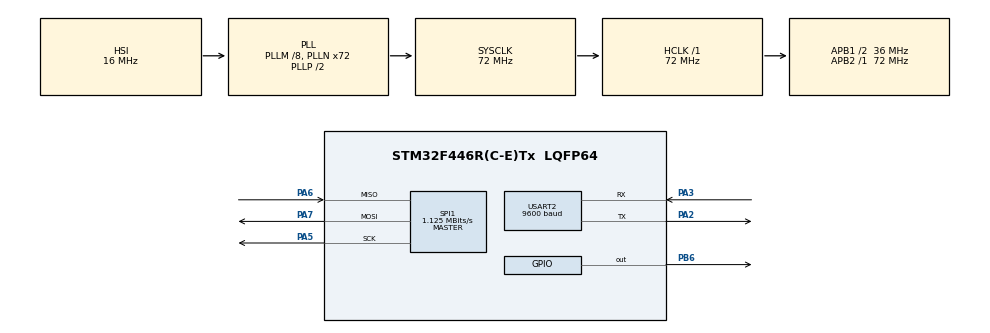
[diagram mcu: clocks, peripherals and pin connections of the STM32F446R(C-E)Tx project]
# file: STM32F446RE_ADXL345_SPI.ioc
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Mcu.Family=STM32F4
PA6.Mode=Full_Duplex_Master
PH0-OSC_IN.Signal=RCC_OSC_IN
RCC.CortexFreq_Value=72000000
PA7.Mode=Full_Duplex_Master
SPI1.VirtualType=VM_MASTER
SPI1.CLKPhase=SPI_PHASE_2EDGE
RCC.APB1CLKDivider=RCC_HCLK_DIV2
NVIC.USART2_IRQn=true\:0\:0\:false\:false\:true\:true\:true
USART2.BaudRate=9600
RCC.SYSCLKSource=RCC_SYSCLKSOURCE_PLLCLK
ProjectManager.StackSize=0x400
PA13.Signal=SYS_JTMS-SWDIO
PA3.Mode=Asynchronous
SPI1.CLKPolarity=SPI_POLARITY_HIGH
ProjectManager.TargetToolchain=STM32CubeIDE
SPI1.Direction=SPI_DIRECTION_2LINES
RCC.HCLKFreq_Value=72000000
RCC.APB2TimFreq_Value=72000000
PB6.Signal=GPIO_Output
SPI1.CalculateBaudRate=1.125 MBits/s
RCC.USBFreq_Value=72000000
RCC.AHBFreq_Value=72000000
PH0-OSC_IN.Mode=HSE-External-Oscillator
PA5.Signal=SPI1_SCK
RCC.HSE_VALUE=25000000
board=custom
RCC.VCOOutputFreq_Value=144000000
NVIC.SPI1_IRQn=true\:0\:0\:false\:false\:true\:true\:true
RCC.APB2Freq_Value=72000000
SPI1.Mode=SPI_MODE_MASTER
PA14.Mode=Serial_Wire
PH1-OSC_OUT.Signal=RCC_OSC_OUT
PA13.Mode=Serial_Wire
Mcu.Name=STM32F446R(C-E)Tx
PA2.Signal=USART2_TX
PH1-OSC_OUT.Mode=HSE-External-Oscillator
RCC.SYSCLKFreq_VALUE=72000000
Mcu.Package=LQFP64
PA6.Signal=SPI1_MISO
USART2.VirtualMode=VM_ASYNC
PA14.Signal=SYS_JTCK-SWCLK
ProjectManager.HeapSize=0x200
NVIC.PriorityGroup=NVIC_PRIORITYGROUP_4
RCC.PLLM=8
RCC.PLLN=72
RCC.APB1TimFreq_Value=72000000
PA2.Mode=Asynchronous
RCC.APB1Freq_Value=36000000
SPI1.BaudRatePrescaler=SPI_BAUDRATEPRESCALER_64
PA3.Signal=USART2_RX
PA5.Mode=Full_Duplex_Master
PA7.Signal=SPI1_MOSI

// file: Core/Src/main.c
/* USER CODE BEGIN Header */
/**
  ******************************************************************************
  * @file           : main.c
  * @brief          : Main program body
  ******************************************************************************
  * @attention
  *
  * <h2><center>&copy; Copyright (c) 2021 STMicroelectronics.
  * All rights reserved.</center></h2>
  *
  * This software component is licensed by ST under BSD 3-Clause license,
  * the "License"; You may not use this file except in compliance with the
  * License. You may obtain a copy of the License at:
  *                        opensource.org/licenses/BSD-3-Clause
  *
  ******************************************************************************
  */
/* USER CODE END Header */
#include "main.h"
#include "stm32f4xx_hal.h"

#include <stdio.h>
#include <string.h>

SPI_HandleTypeDef hspi1;

UART_HandleTypeDef huart2;

/* USER CODE BEGIN PV */

static char* uartTx= "UART BAŞLADI /t/n";

/* USER CODE END PV */

void SystemClock_Config(void);
static void MX_GPIO_Init(void);
static void MX_SPI1_Init(void);
static void MX_USART2_UART_Init(void);

/* USER CODE BEGIN 0 */

uint8_t data_rec[6];
int16_t x, y, z;
float xg, yg, zg;
float ax, ay, az;

void adxl_write (uint8_t address, uint8_t value)
{
	uint8_t data[2];
	data[0] = address|0x40;  // multibyte write
	data[1] = value;
	HAL_GPIO_WritePin (GPIOB, GPIO_PIN_6, GPIO_PIN_RESET);  // pull the cs pin low
	HAL_SPI_Transmit (&hspi1, data, 2, 100);  // write data to register
	HAL_GPIO_WritePin (GPIOB, GPIO_PIN_6, GPIO_PIN_SET);  // pull the cs pin high
}

void adxl_read (uint8_t address)
{
	address |= 0x80;  // read operation
	address |= 0x40;  // multibyte read
	uint8_t rec;
	HAL_GPIO_WritePin (GPIOB, GPIO_PIN_6, GPIO_PIN_RESET);  // pull the pin low
	HAL_SPI_Transmit (&hspi1, &address, 1, 100);  // send address
	HAL_SPI_Receive (&hspi1, data_rec, 6, 100);  // receive 6 bytes data
	HAL_GPIO_WritePin (GPIOB, GPIO_PIN_6, GPIO_PIN_SET);  // pull the pin high
}

void adxl_init (void)
{
	adxl_write (0x31, 0x01);  // data_format range= +- 4g
	adxl_write (0x2d, 0x00);  // reset all bits
	adxl_write (0x2d, 0x08);  // power_cntl measure and wake up 8hz
}

/* USER CODE END 0 */

int main(void)
{

  /* MCU Configuration--------------------------------------------------------*/

  /* Reset of all peripherals, Initializes the Flash interface and the Systick. */
  HAL_Init();

  /* Configure the system clock */
  SystemClock_Config();

  /* Initialize all configured peripherals */
  MX_GPIO_Init();
  MX_SPI1_Init();
  MX_USART2_UART_Init();
  /* USER CODE BEGIN 2 */

  if (HAL_UART_Transmit(&huart2, (uint8_t *)uartTx, 25, 100)!=HAL_OK)
  {
	  Error_Handler();
  }

  adxl_init();

  /* USER CODE END 2 */

  /* Infinite loop */
  while (1)
  {

    /* USER CODE BEGIN 3 */

	  // READ DATA

	  	  	  adxl_read (0x32);
	  	  	  x = ((data_rec[1]<<8)|data_rec[0]);
	  	      y = ((data_rec[3]<<8)|data_rec[2]);
	  	      z = ((data_rec[5]<<8)|data_rec[4]);

	  	        // Convert into 'g'

	  	        xg = x*.0078;
	  	        yg = y*.0078;
	  	     	zg = z*.0078;

	  	     	// 1 g = 9.80665 m/s²

	  	     	ax = xg*9.80665;
	  	     	ay = yg*9.80665;
	  	     	az = zg*9.80665;

	  		  char buffer[100];
	  		  sprintf(buffer, "ax: %f\t ay: %f\t az: %f\t\n xg: %f\t yg: %f\t zg: %f\t", ax, ay, az, xg, yg, zg);
	  		  HAL_UART_Transmit(&huart2, buffer, strlen(buffer), 1000);
  }
  /* USER CODE END 3 */
}

void SystemClock_Config(void)
{
  RCC_OscInitTypeDef RCC_OscInitStruct = {0};
  RCC_ClkInitTypeDef RCC_ClkInitStruct = {0};

  /** Configure the main internal regulator output voltage
  */
  __HAL_RCC_PWR_CLK_ENABLE();
  __HAL_PWR_VOLTAGESCALING_CONFIG(PWR_REGULATOR_VOLTAGE_SCALE3);
  /** Initializes the RCC Oscillators according to the specified parameters
  * in the RCC_OscInitTypeDef structure.
  */
  RCC_OscInitStruct.OscillatorType = RCC_OSCILLATORTYPE_HSI;
  RCC_OscInitStruct.HSIState = RCC_HSI_ON;
  RCC_OscInitStruct.HSICalibrationValue = RCC_HSICALIBRATION_DEFAULT;
  RCC_OscInitStruct.PLL.PLLState = RCC_PLL_ON;
  RCC_OscInitStruct.PLL.PLLSource = RCC_PLLSOURCE_HSI;
  RCC_OscInitStruct.PLL.PLLM = 8;
  RCC_OscInitStruct.PLL.PLLN = 72;
  RCC_OscInitStruct.PLL.PLLP = RCC_PLLP_DIV2;
  RCC_OscInitStruct.PLL.PLLQ = 2;
  RCC_OscInitStruct.PLL.PLLR = 2;

  if (HAL_RCC_OscConfig(&RCC_OscInitStruct) != HAL_OK)
  {
    Error_Handler();
  }
  /** Initializes the CPU, AHB and APB buses clocks
  */
  RCC_ClkInitStruct.ClockType = RCC_CLOCKTYPE_HCLK|RCC_CLOCKTYPE_SYSCLK
                              |RCC_CLOCKTYPE_PCLK1|RCC_CLOCKTYPE_PCLK2;
  RCC_ClkInitStruct.SYSCLKSource = RCC_SYSCLKSOURCE_PLLCLK;
  RCC_ClkInitStruct.AHBCLKDivider = RCC_SYSCLK_DIV1;
  RCC_ClkInitStruct.APB1CLKDivider = RCC_HCLK_DIV2;
  RCC_ClkInitStruct.APB2CLKDivider = RCC_HCLK_DIV1;

  if (HAL_RCC_ClockConfig(&RCC_ClkInitStruct, FLASH_LATENCY_2) != HAL_OK)
  {
    Error_Handler();
  }
}

static void MX_SPI1_Init(void)
{

  /* SPI1 parameter configuration*/
  hspi1.Instance = SPI1;
  hspi1.Init.Mode = SPI_MODE_MASTER;
  hspi1.Init.Direction = SPI_DIRECTION_2LINES;
  hspi1.Init.DataSize = SPI_DATASIZE_8BIT;
  hspi1.Init.CLKPolarity = SPI_POLARITY_HIGH;
  hspi1.Init.CLKPhase = SPI_PHASE_2EDGE;
  hspi1.Init.NSS = SPI_NSS_SOFT;
  hspi1.Init.BaudRatePrescaler = SPI_BAUDRATEPRESCALER_64;
  hspi1.Init.FirstBit = SPI_FIRSTBIT_MSB;
  hspi1.Init.TIMode = SPI_TIMODE_DISABLE;
  hspi1.Init.CRCCalculation = SPI_CRCCALCULATION_DISABLE;
  hspi1.Init.CRCPolynomial = 10;
  if (HAL_SPI_Init(&hspi1) != HAL_OK)
  {
    Error_Handler();
  }

}

static void MX_USART2_UART_Init(void)
{

  huart2.Instance = USART2;
  huart2.Init.BaudRate = 9600;
  huart2.Init.WordLength = UART_WORDLENGTH_8B;
  huart2.Init.StopBits = UART_STOPBITS_1;
  huart2.Init.Parity = UART_PARITY_NONE;
  huart2.Init.Mode = UART_MODE_TX_RX;
  huart2.Init.HwFlowCtl = UART_HWCONTROL_NONE;
  huart2.Init.OverSampling = UART_OVERSAMPLING_16;
  if (HAL_UART_Init(&huart2) != HAL_OK)
  {
    Error_Handler();
  }

}

static void MX_GPIO_Init(void)
{
  GPIO_InitTypeDef GPIO_InitStruct = {0};

  /* GPIO Ports Clock Enable */
  __HAL_RCC_GPIOH_CLK_ENABLE();
  __HAL_RCC_GPIOA_CLK_ENABLE();
  __HAL_RCC_GPIOB_CLK_ENABLE();

  /*Configure GPIO pin Output Level */
  HAL_GPIO_WritePin(GPIOB, GPIO_PIN_6, GPIO_PIN_RESET);

  /*Configure GPIO pin : PB6 */
  GPIO_InitStruct.Pin = GPIO_PIN_6;
  GPIO_InitStruct.Mode = GPIO_MODE_OUTPUT_PP;
  GPIO_InitStruct.Pull = GPIO_NOPULL;
  GPIO_InitStruct.Speed = GPIO_SPEED_FREQ_LOW;
  HAL_GPIO_Init(GPIOB, &GPIO_InitStruct);

}

void Error_Handler(void)
{
  __disable_irq();
  while (1)
  {
  }
}

/************************ (C) COPYRIGHT STMicroelectronics *****END OF FILE****/
